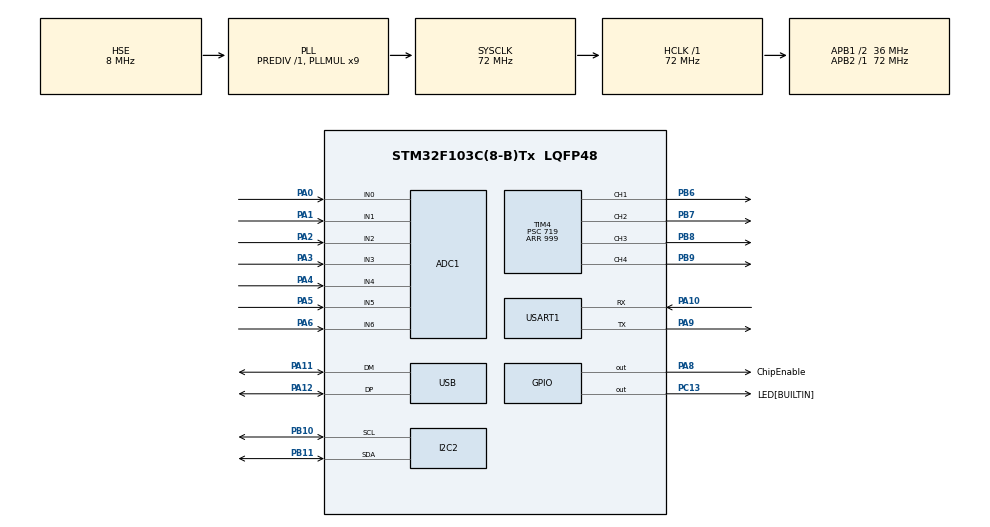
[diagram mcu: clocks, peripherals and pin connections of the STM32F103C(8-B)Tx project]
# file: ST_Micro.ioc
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ADC1.Channel-0\#ChannelRegularConversion=ADC_CHANNEL_0
ADC1.Channel-1\#ChannelRegularConversion=ADC_CHANNEL_1
ADC1.Channel-2\#ChannelRegularConversion=ADC_CHANNEL_2
ADC1.Channel-3\#ChannelRegularConversion=ADC_CHANNEL_3
ADC1.Channel-4\#ChannelRegularConversion=ADC_CHANNEL_4
ADC1.Channel-5\#ChannelRegularConversion=ADC_CHANNEL_5
ADC1.Channel-6\#ChannelRegularConversion=ADC_CHANNEL_6
ADC1.ContinuousConvMode=DISABLE
ADC1.ExternalTrigConv=ADC_EXTERNALTRIGCONV_T3_TRGO
ADC1.NbrOfConversion=7
ADC1.NbrOfConversionFlag=1
ADC1.Rank-0\#ChannelRegularConversion=1
ADC1.Rank-1\#ChannelRegularConversion=2
ADC1.Rank-2\#ChannelRegularConversion=3
ADC1.Rank-3\#ChannelRegularConversion=4
ADC1.Rank-4\#ChannelRegularConversion=5
ADC1.Rank-5\#ChannelRegularConversion=6
ADC1.Rank-6\#ChannelRegularConversion=7
ADC1.SamplingTime-0\#ChannelRegularConversion=ADC_SAMPLETIME_1CYCLE_5
ADC1.SamplingTime-1\#ChannelRegularConversion=ADC_SAMPLETIME_1CYCLE_5
ADC1.SamplingTime-2\#ChannelRegularConversion=ADC_SAMPLETIME_1CYCLE_5
ADC1.SamplingTime-3\#ChannelRegularConversion=ADC_SAMPLETIME_1CYCLE_5
ADC1.SamplingTime-4\#ChannelRegularConversion=ADC_SAMPLETIME_1CYCLE_5
ADC1.SamplingTime-5\#ChannelRegularConversion=ADC_SAMPLETIME_1CYCLE_5
ADC1.SamplingTime-6\#ChannelRegularConversion=ADC_SAMPLETIME_1CYCLE_5
ADC1.master=1
Dma.ADC1.0.Direction=DMA_PERIPH_TO_MEMORY
Dma.ADC1.0.Instance=DMA1_Channel1
Dma.ADC1.0.MemDataAlignment=DMA_MDATAALIGN_WORD
Dma.ADC1.0.MemInc=DMA_MINC_ENABLE
Dma.ADC1.0.Mode=DMA_CIRCULAR
Dma.ADC1.0.PeriphDataAlignment=DMA_PDATAALIGN_WORD
Dma.ADC1.0.PeriphInc=DMA_PINC_DISABLE
Dma.ADC1.0.Priority=DMA_PRIORITY_MEDIUM
Dma.Request0=ADC1
I2C2.I2C_Mode=I2C_Fast
Mcu.Family=STM32F1
Mcu.Name=STM32F103C(8-B)Tx
Mcu.Package=LQFP48
NVIC.DMA1_Channel1_IRQn=true\:0\:0\:false\:false\:true\:false\:true\:true
NVIC.PriorityGroup=NVIC_PRIORITYGROUP_4
NVIC.USART1_IRQn=true\:0\:0\:false\:false\:true\:true\:true\:true
NVIC.USB_LP_CAN1_RX0_IRQn=true\:0\:0\:false\:false\:true\:true\:true\:true
PA0-WKUP.Signal=ADCx_IN0
PA1.Signal=ADCx_IN1
PA10.Mode=Asynchronous
PA10.Signal=USART1_RX
PA11.Mode=Device
PA11.Signal=USB_DM
PA12.Mode=Device
PA12.Signal=USB_DP
PA13.Mode=Serial_Wire
PA13.Signal=SYS_JTMS-SWDIO
PA14.Mode=Serial_Wire
PA14.Signal=SYS_JTCK-SWCLK
PA2.Signal=ADCx_IN2
PA3.Signal=ADCx_IN3
PA4.Signal=ADCx_IN4
PA5.Signal=ADCx_IN5
PA6.Signal=ADCx_IN6
PA8.GPIO_Label=ChipEnable
PA8.Signal=GPIO_Output
PA9.Mode=Asynchronous
PA9.Signal=USART1_TX
PB10.Mode=I2C
PB10.Signal=I2C2_SCL
PB11.Mode=I2C
PB11.Signal=I2C2_SDA
PB6.Signal=S_TIM4_CH1
PB7.Signal=S_TIM4_CH2
PB8.Signal=S_TIM4_CH3
PB9.Signal=S_TIM4_CH4
PC13-TAMPER-RTC.GPIO_Label=LED[BUILTIN]
PC13-TAMPER-RTC.Signal=GPIO_Output
PC14-OSC32_IN.Mode=LSE-External-Oscillator
PC14-OSC32_IN.Signal=RCC_OSC32_IN
PC15-OSC32_OUT.Mode=LSE-External-Oscillator
PC15-OSC32_OUT.Signal=RCC_OSC32_OUT
PD0-OSC_IN.Mode=HSE-External-Oscillator
PD0-OSC_IN.Signal=RCC_OSC_IN
PD1-OSC_OUT.Mode=HSE-External-Oscillator
PD1-OSC_OUT.Signal=RCC_OSC_OUT
ProjectManager.HeapSize=0x200
ProjectManager.StackSize=0x400
ProjectManager.TargetToolchain=STM32CubeIDE
RCC.ADCPresc=RCC_ADCPCLK2_DIV6
RCC.AHBFreq_Value=72000000
RCC.APB1CLKDivider=RCC_HCLK_DIV2
RCC.APB1Freq_Value=36000000
RCC.APB1TimFreq_Value=72000000
RCC.APB2Freq_Value=72000000
RCC.APB2TimFreq_Value=72000000
RCC.HCLKFreq_Value=72000000
RCC.PLLMUL=RCC_PLL_MUL9
RCC.PLLSourceVirtual=RCC_PLLSOURCE_HSE
RCC.SYSCLKFreq_VALUE=72000000
RCC.SYSCLKSource=RCC_SYSCLKSOURCE_PLLCLK
RCC.USBFreq_Value=48000000
RCC.USBPrescaler=RCC_USBCLKSOURCE_PLL_DIV1_5
SH.ADCx_IN0.0=ADC1_IN0,IN0
SH.ADCx_IN1.0=ADC1_IN1,IN1
SH.ADCx_IN2.0=ADC1_IN2,IN2
SH.ADCx_IN3.0=ADC1_IN3,IN3
SH.ADCx_IN4.0=ADC1_IN4,IN4
SH.ADCx_IN5.0=ADC1_IN5,IN5
SH.ADCx_IN6.0=ADC1_IN6,IN6
SH.S_TIM4_CH1.0=TIM4_CH1,PWM Generation1 CH1
SH.S_TIM4_CH2.0=TIM4_CH2,PWM Generation2 CH2
SH.S_TIM4_CH3.0=TIM4_CH3,PWM Generation3 CH3
SH.S_TIM4_CH4.0=TIM4_CH4,PWM Generation4 CH4
TIM2.AutoReloadPreload=TIM_AUTORELOAD_PRELOAD_ENABLE
TIM2.Period=60000
TIM2.Prescaler=35999
TIM3.Period=249
TIM3.Prescaler=71
TIM3.TIM_MasterOutputTrigger=TIM_TRGO_UPDATE
TIM4.Channel-PWM\ Generation1\ CH1=TIM_CHANNEL_1
TIM4.Channel-PWM\ Generation2\ CH2=TIM_CHANNEL_2
TIM4.Channel-PWM\ Generation3\ CH3=TIM_CHANNEL_3
TIM4.Channel-PWM\ Generation4\ CH4=TIM_CHANNEL_4
TIM4.Period=999
TIM4.Prescaler=719
USART1.VirtualMode=VM_ASYNC
USB_DEVICE.CLASS_NAME_FS=CDC
USB_DEVICE.VirtualMode=Cdc
USB_DEVICE.VirtualModeFS=Cdc_FS
VP_TIM2_VS_ClockSourceINT.Mode=Internal
VP_TIM3_VS_ClockSourceINT.Mode=Internal
VP_TIM4_VS_ClockSourceINT.Mode=Internal
VP_USB_DEVICE_VS_USB_DEVICE_CDC_FS.Mode=CDC_FS
board=custom

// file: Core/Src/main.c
/* USER CODE BEGIN Header */
/**
  ******************************************************************************
  * @file           : main.c
  * @brief          : Main program body
  ******************************************************************************
  * @attention
  *
  * Copyright (c) 2025 STMicroelectronics.
  * All rights reserved.
  *
  * This software is licensed under terms that can be found in the LICENSE file
  * in the root directory of this software component.
  * If no LICENSE file comes with this software, it is provided AS-IS.
  *
  ******************************************************************************
  */
/* USER CODE END Header */
#include "main.h"
#include "usb_device.h"

/* USER CODE BEGIN Includes */
#include <string.h>
#include <stddef.h>
#include "stdint.h"
#include "usbd_cdc_if.h"
#include "comunicaciones.h"
#include "ESP01.h"
#include "stm32f1xx_hal.h"
#include "ssd1306.h"
#include "fonts.h"
/* USER CODE END Includes */

/* USER CODE BEGIN PTD */

typedef enum{
	ALIVE=0xF0,      // Identificador para mensaje de "vivo"
	DATA=0xF1,       // Identificador para transmisión de datos
	DEBUGGER=0xE3,   // Identificador para mensajes de depuración
	AT_TRANSMIT=0xA0,// Identificador para transmisión AT
	AT_CONFIG=0xA1,  // Identificador para configuración AT
	MPU_READ = 0xAC, // Identificador para lectura del sensor MPU
	IR_READ = 0xAB,  // Identificador para lectura de sensores IR
	MOTOR = 0XA5,    // Identificador para control de motores
	PID_CONFIG = 0xA6,// Identificador para configuración PID
	ADC_VALUES = 0XA7,// Identificador para graficar valores ADC
	OTHERS           // Identificador para otros comandos
}_eID;

// Definición de una unión para almacenar banderas de estado
static union{
	struct{
		uint8_t tranparentDebug: 1; // Bandera para modo de depuración transparente
		uint8_t at_transmit: 1;     // Bandera para transmisión AT
		uint8_t comillas: 1;        // Bandera para manejo de comillas en configuración AT
		uint8_t mpu_read: 1;        // Bandera para indicar lectura del sensor MPU
		uint8_t mpu_read_ok: 1;     // Bandera para indicar que la lectura del MPU fue exitosa
		uint8_t ir_read: 1;         // Bandera para indicar lectura de sensores IR
		uint8_t adc_dma_start: 1;   // Bandera para indicar inicio de DMA en ADC
		uint8_t motor_prueba: 1;    // Bandera para prueba de motores
	}bit;
	uint8_t byte;  // Variable de 8 bits para acceder a todas las banderas como un solo byte
}flags;

typedef struct{
	uint8_t bufferRx[256];
	uint8_t bufferTx[256];
	uint8_t bufferPx[256];
	uint8_t Rxir;
	uint8_t Rxiw;
	uint8_t Txir;
	uint8_t Txiw;
	uint8_t Pxir;
	uint8_t Pxiw;
}bufferST;

// Variables para configuración y almacenamiento de datos

SSD1306_COLOR_t color; // Color de la pantalla OLED
//_sESP01_CONFIG myESP01_Config; // Configuración del módulo ESP01
_eESP01STATUS currentESP01states;
bufferST bufferESP01;

/* USER CODE END PTD */

/* USER CODE BEGIN PD */
#define MPU6050_ADDRESS 0xD0 // Dirección I2C del sensor MPU6050
/* USER CODE END PD */

ADC_HandleTypeDef hadc1;
DMA_HandleTypeDef hdma_adc1;

I2C_HandleTypeDef hi2c2;

TIM_HandleTypeDef htim2;
TIM_HandleTypeDef htim3;
TIM_HandleTypeDef htim4;

UART_HandleTypeDef huart1;

/* USER CODE BEGIN PV */

// Variables de uso general
uint8_t tempRxUART[2];
//char dataRXESP01; // Variable para almacenar datos recibidos por UART
uint32_t elapsedHeartBeat = 0, elapsedESP01Receive = 0, elapsedMPU = 0, elapsedMPU_tx = 0, elapseIR = 0, elapsedADC_draw = 0;
uint32_t elapsedESP01TimeOut = 0;
int16_t pwmIzq = 0, pwmDer = 0, pwmIzqInv = 0, pwmDerInv = 0, pwmBase = 999; // Variables de control de PWM
int error = 0, lastError = 0;
int cumError = 0, rateError = 0, correccionDer = 0, correccionIzq = 0; // Variables para control PID
uint8_t KpIzq = 0, KpDer = 0,  Vel = 100; // Coeficientes PID
uint16_t KdIzq = 0, KdDer = 0;
uint8_t raceStart = 0, adcDraw = 0; // Banderas de control

// Buffers para almacenamiento y transmisión de datos
char bufPayloadRx[32]; // Buffer para recepción de datos USB
char bufPayloadTx[32]; // Buffer para transmisión de datos USB
char payloadBck[256];  // Buffer de respaldo para datos USB
char bufDebug[32];      // Buffer para mensajes de depuración
char ipBuf[16];           // Almacenamiento de la dirección IP del ESP01
char *ip;
uint8_t TxLen = 0;

// Variables para lectura del sensor MPU6050
uint8_t MPU_rx[4], accelCount = 0;
int16_t accelXProm = 0, accelYProm = 0, gyroZProm = 0, gyroYProm = 0, gyroZAux[20], gyroYAux[20], accelXAux[20], accelYAux[20];

// Variables para manejo de ADC con DMA
uint32_t adc_dma_value[7], dma_result[7][20], ir_prom_value[7]; // Almacenamiento de valores ADC
uint8_t adc_dma_count = 0;
int8_t line_pos;

// Variables para la detección de la linea
uint8_t max_value_ir = 0;  // Índice del sensor IR con el valor máximo
uint8_t last_ir = 0;
uint32_t max_value = 0;    // Valor máximo encontrado en ir_prom_value

/* USER CODE END PV */

void SystemClock_Config(void);
static void MX_GPIO_Init(void);
static void MX_DMA_Init(void);
static void MX_ADC1_Init(void);
static void MX_I2C2_Init(void);
static void MX_TIM2_Init(void);
static void MX_TIM4_Init(void);
static void MX_USART1_UART_Init(void);
static void MX_TIM3_Init(void);
/* USER CODE BEGIN PFP */
//void mypinSet();
uint8_t myI2CInit();
void myI2CWriteMulti(uint8_t address, uint8_t reg, uint8_t *data, uint16_t count);
void myI2CWrite(uint8_t address, uint8_t reg, uint8_t data);
void decode(uint8_t *payloadBuf, uint8_t lenPx);
void onUSBRx(char *myBuf, int length);
//uint8_t onWiFiTx(char Txdata);
//void onWiFiRx(char *Rxdata, int RxLength);
//void TxCOM(uint8_t *TxBuf, int length);
void display_debug(char txt[],uint8_t X,uint8_t Y);
void MPU6050_Read_Data(void);
uint8_t MPU6050_Init(void);
void IR_PROMEDIO();
void MPU_PROMEDIO();
int8_t Line_detection();
void Pwm_Step();

void ESP01_CH_PD_Set(uint8_t value);
void ESP01_UART_Receive(uint8_t value);
int ESP01_UART_Send(uint8_t value);
void ESP01_ChangeState(_eESP01STATUS statusESP01);

/* USER CODE END PFP */

/* USER CODE BEGIN 0 */

/**
 * @brief Muestra un texto en un display OLED SSD1306 en una posición específica.
 *
 * Esta función borra la pantalla OLED, posiciona el cursor en las coordenadas (x, y)
 * indicadas y muestra el texto deseado utilizando la fuente `Font_7x10`. Finalmente,
 * actualiza la pantalla para reflejar los cambios.
 *
 * @param text Puntero a la cadena de texto que se desea mostrar.
 * @param x Coordenada horizontal (en píxeles) donde se colocará el texto.
 * @param y Coordenada vertical (en píxeles) donde se colocará el texto.
 */
void display_debug(char txt[],uint8_t x,uint8_t y) {
    //SSD1306_Clear(); // Borra la pantalla OLED
    SSD1306_GotoXY(x, y); // Posiciona el cursor en las coordenadas especificadas
    SSD1306_Puts(txt, &Font_7x10, 1); // Muestra el texto en la pantalla
    SSD1306_UpdateScreen(); // Actualiza la pantalla con el nuevo contenido
}

/**
 * @brief Callback que se ejecuta cuando finaliza una conversión ADC mediante DMA.
 *
 * Esta función se activa automáticamente al completarse la conversión ADC. Se encarga de
 * almacenar los valores convertidos en un buffer, manteniendo un historial de las últimas 8 muestras.
 *
 * @param hadc Puntero a la estructura de manejo del ADC.
 */
void HAL_ADC_ConvCpltCallback(ADC_HandleTypeDef* hadc)
{

	dma_result[0][adc_dma_count] = adc_dma_value[0];
	dma_result[1][adc_dma_count] = adc_dma_value[1];
	dma_result[2][adc_dma_count] = adc_dma_value[2];
	dma_result[3][adc_dma_count] = adc_dma_value[3];
	dma_result[4][adc_dma_count] = adc_dma_value[4];
	dma_result[5][adc_dma_count] = adc_dma_value[5];
	dma_result[6][adc_dma_count++] = adc_dma_value[6];

	if(adc_dma_count > 19)
		adc_dma_count = 0;
}

/**
 * @brief Callback de interrupción de recepción UART.
 *
 * Esta función se ejecuta automáticamente cuando se recibe un byte a través de UART.
 * Si la recepción proviene de USART1, se almacena el dato en `dataRXESP01`, se vuelve
 * a habilitar la recepción para recibir el siguiente byte y se procesa el dato recibido.
 * Además, si está activado el modo de depuración transparente, el dato se envía por USB.
 *
 * @param huart Puntero a la estructura de manejo de UART.
 */
void HAL_UART_RxCpltCallback(UART_HandleTypeDef* huart){
    if(huart->Instance == USART1){ // Verifica que la interrupción proviene de USART1
    	ESP01_WriteRX(tempRxUART[0]);
    	HAL_UART_Receive_IT(&huart1, tempRxUART, 1);
    }
}

/**
 * @brief Cambia el estado del pin de salida del GPIO.
 *
 * Esta función modifica el estado del pin de salida configurado en `GPIOx_ODR`.
 * Se utiliza para alternar entre los estados alto y bajo
 *
 * @param value Valor alto o bajo que deseamos asignar a nuestro pin de salida
 */

void ESP01_CH_PD_Set(uint8_t value){
	HAL_GPIO_WritePin(ChipEnable_GPIO_Port, ChipEnable_Pin, value);
}

/**
 * @brief Maneja la recepción de datos desde el módulo WiFi ESP01.
 *
 * Esta función copia los datos recibidos en un buffer temporal
 *
 * @param value byte de gatagrama recibido a través de la ESP01
 */

void ESP01_UART_Receive(uint8_t value){
	bufferESP01.bufferRx[bufferESP01.Rxiw++] = value;
	elapsedESP01Receive = __HAL_TIM_GetCounter(&htim2);
}

/**
 * @brief Transmite un byte de datos a través de UART si el buffer de transmisión está vacío.
 *
 * La función verifica si el buffer de transmisión de USART1 está vacío. Si lo está,
 * se envía el byte `Txdata` a través del registro de datos `USART1->DR`. Además, si el
 * modo de depuración transparente está activado, se transmite el mismo dato por USB.
 *
 * @param value Byte de datos a transmitir.
 * @return uint8_t Devuelve 1 si el dato se transmitió exitosamente, 0 en caso contrario.
 */
int ESP01_UART_Send(uint8_t value){
	HAL_UART_Transmit(&huart1, &value, 1, 10);
	return  1;
}

void ESP01_ChangeState(_eESP01STATUS statusESP01){
	switch (statusESP01) {
		case ESP01_READY:
			SSD1306_Clear();
			sprintf(bufPayloadTx,"READY");
			display_debug(bufPayloadTx, 1, 30);
			break;
		case ESP01_WIFI_CONNECTED:
			SSD1306_Clear();
			sprintf(bufPayloadTx,"WIFI_CONNECTED");
			display_debug(bufPayloadTx, 1, 30);
			break;
		case ESP01_WIFI_NEW_IP:
			SSD1306_Clear();
			sprintf(bufPayloadTx,"NEW_IP");
			display_debug(bufPayloadTx, 1, 30);
			break;
		case ESP01_UDPTCP_CONNECTED:
			SSD1306_Clear();
			sprintf(bufPayloadTx,"UDP_CONNECTED");
			display_debug(bufPayloadTx, 1, 30);
			currentESP01states = ESP01_GET_IP;
			break;
		case ESP01_WIFI_NOT_SETED:
			SSD1306_Clear();
			sprintf(bufPayloadTx,"WIFI_NOT_SET");
			display_debug(bufPayloadTx, 1, 30);
			break;
		case ESP01_WIFI_CONNECTING_WIFI:
			SSD1306_Clear();
			sprintf(bufPayloadTx,"WIFI_CONNECTING");
			display_debug(bufPayloadTx, 1, 30);
			break;
		case ESP01_UDPTCP_DISCONNECTED:
			sprintf(bufPayloadTx,"UDP_DISCONNECTED");
			display_debug(bufPayloadTx, 1, 30);
			break;
		case ESP01_UDPTCP_CONNECTING:
			SSD1306_Clear();
			sprintf(bufPayloadTx,"UDP_CONNECTING");
			display_debug(bufPayloadTx, 1, 30);
			break;
		case ESP01_SEND_BUSY:
			SSD1306_Clear();
			sprintf(bufPayloadTx,"SEND_BUSY");
			display_debug(bufPayloadTx, 1, 30);
			break;
		case ESP01_SEND_READY:

			break;
		case ESP01_SEND_ERROR:
			SSD1306_Clear();
			sprintf(bufPayloadTx,"SEND_ERROR");
			display_debug(bufPayloadTx, 1, 30);
			break;
		default:
			break;
	}
}

//--------------------------------------------------------------

/**
 * @brief Maneja la recepción de datos desde el puerto USB.
 *
 * Esta función recibe datos desde la conexión USB y los transfiere a
 * `Comunicaciones_Recieve` para su procesamiento.
 *
 * @param myBuf Puntero al buffer que contiene los datos recibidos.
 * @param length Longitud de los datos recibidos.
 */
void onUSBRx(char *myBuf, int length) {
    //Comunicaciones_Recieve((uint8_t *)myBuf, length); // Envía los datos recibidos para su procesamiento
}

/**
 * @brief Decodifica el comando recibido y ejecuta la acción correspondiente.
 *
 * Esta función analiza el primer byte del buffer recibido y ejecuta
 * acciones específicas dependiendo del tipo de comando.
 *
 * @param payBuf Puntero al buffer de datos recibido.
 * @param payLength Longitud del buffer de datos recibido.
 */
void decode(uint8_t *payloadBuf, uint8_t lenPx) {

    // Analiza el primer byte del buffer para determinar la acción a ejecutar
    switch(payloadBuf[0]) {
        case ALIVE:
            // Responde con un mensaje de confirmación
            sprintf(bufDebug, "ALIVE OK");
            display_debug(bufDebug, 1, 15);
            bufferESP01.bufferPx[bufferESP01.Pxiw++] = 0xF0;
            flags.bit.at_transmit = 1;
            break;

        case MPU_READ:
            // Activa la bandera para leer datos del sensor MPU
            flags.bit.mpu_read = !flags.bit.mpu_read;
            flags.bit.mpu_read_ok = !flags.bit.mpu_read_ok;
            accelCount = 0;
            break;
        case IR_READ:
            // Activa o desactiva la lectura del sensor infrarrojo e indica el inicio de la carrera
            sprintf(bufDebug, "RACE START");
            SSD1306_Clear();
            display_debug(bufDebug, 1, 15);
            raceStart = !raceStart;
            if(!raceStart){
    			TIM4->CCR1 = 0;
    			TIM4->CCR2 = 0;
    			TIM4->CCR3 = 0;
    			TIM4->CCR4 = 0;
            }
            break;

        case DATA:
            // Envía los datos de los sensores ADC almacenados en `adc_dma_value`
            sprintf(bufPayloadTx, "0 = %ld\n1 = %ld", adc_dma_value[0], adc_dma_value[1]);
            break;

        case DEBUGGER:
            // Activa o desactiva el modo de depuración transparente
            flags.bit.tranparentDebug = !flags.bit.tranparentDebug;
            sprintf(bufPayloadTx, "Transparent: %i", flags.bit.tranparentDebug);
            break;
		case MOTOR:
			flags.bit.motor_prueba = !flags.bit.motor_prueba;
			sprintf(bufDebug, "STOP");
			SSD1306_Clear();
			display_debug(bufDebug, 1, 15);
			raceStart = 0;
			flags.bit.ir_read = 0;
			TIM4->CCR1 = 0;
			TIM4->CCR2 = 0;
			TIM4->CCR3 = 0;
			TIM4->CCR4 = 0;
			break;
		case PID_CONFIG:
			KpIzq = payloadBuf[1];
			KdIzq = (uint16_t)((payloadBuf[2] << 8) | payloadBuf[3]);
			KpDer = payloadBuf[4];
			KdDer = (uint16_t)((payloadBuf[5] << 8) | payloadBuf[6]);
			Vel = payloadBuf[7];
			pwmBase = (999 * Vel) / 100;

			sprintf(bufDebug, "PID Updated");
			SSD1306_Clear();
			display_debug(bufDebug, 1, 15);
			break;
		case ADC_VALUES:
			// Activa o desactiva la bandera para leer datos del sensor MPU
			adcDraw = !adcDraw;
			break;
	default:
		sprintf(bufPayloadTx,"ERROR");
		display_debug(bufPayloadTx, 1, 30);
		break;
	}

    // Verifica si es necesario transmitir una respuesta y envía los datos si es necesario
    if (flags.bit.at_transmit) {
        flags.bit.at_transmit = 0;
        //TxPay = strlen(bufPayloadTx);
        Comunicaciones_encode(bufferESP01.bufferTx, &bufferESP01.Txiw, bufferESP01.bufferPx, bufferESP01.Pxiw, &bufferESP01.Pxir);
        if(bufferESP01.Txiw < bufferESP01.Txir){
        	TxLen = (256 - bufferESP01.Txir) + bufferESP01.Txiw;
        }else{
        	TxLen = bufferESP01.Txiw - bufferESP01.Txir;
        }
        ESP01_Send(bufferESP01.bufferTx, bufferESP01.Txir, TxLen, 256);
        bufferESP01.Txir = bufferESP01.Txiw;
    }

}

/**
 * @brief Inicializa la comunicación I2C verificando la disponibilidad del dispositivo.
 *
 * Esta función comprueba si el dispositivo en la dirección `SSD1306_I2C_ADDR`
 * está listo para la comunicación mediante el bus I2C.
 *
 * @return 1 si el dispositivo está listo, 0 en caso contrario.
 */
uint8_t myI2CInit(){
    // Comprueba si el dispositivo responde en la dirección especificada
    if(HAL_I2C_IsDeviceReady(&hi2c2, SSD1306_I2C_ADDR, 1, 20000) != HAL_OK){
        return 0; // Dispositivo no disponible
    }else{
        return 1; // Dispositivo listo
    }
}

/**
 * @brief Escribe múltiples bytes en un dispositivo I2C.
 *
 * Envía un conjunto de datos a un dispositivo en la dirección `address`,
 * comenzando desde el registro `reg`.
 *
 * @param address Dirección del dispositivo I2C.
 * @param reg Registro de inicio donde se almacenarán los datos.
 * @param data Puntero al buffer de datos a enviar.
 * @param count Cantidad de bytes a enviar.
 */
void myI2CWriteMulti(uint8_t address, uint8_t reg, uint8_t *data, uint16_t count){
    uint8_t dt[256]; // Buffer temporal para la transmisión
    dt[0] = reg; // Primer byte es la dirección del registro

    uint8_t i;
    for(i = 0; i < count; i++) // Copia los datos al buffer temporal
        dt[i+1] = data[i];

    // Enviar los datos a través de I2C
    HAL_I2C_Master_Transmit(&hi2c2, address, dt, count+1, 10);
}

/**
 * @brief Escribe un solo byte en un dispositivo I2C.
 *
 * Envía un byte de datos a un dispositivo en la dirección `address`,
 * en el registro `reg`.
 *
 * @param address Dirección del dispositivo I2C.
 * @param reg Registro donde se escribirá el dato.
 * @param data Dato a escribir.
 */
void myI2CWrite(uint8_t address, uint8_t reg, uint8_t data){
    uint8_t dt[2]; // Buffer para el registro y el dato
    dt[0] = reg;  // Dirección del registro
    dt[1] = data;  // Dato a escribir

    // Enviar los datos a través de I2C
    HAL_I2C_Master_Transmit(&hi2c2, address, dt, 2, 10);
}

/**
  * @brief Inicializa el sensor MPU6050 configurando los registros necesarios
  *        para la comunicación y funcionamiento del dispositivo.
  *
  * Esta función configura el registro de encendido y el registro de configuración
  * de la tasa de muestreo del MPU6050 para permitir su funcionamiento correcto.
  *
  * @param None
  * @return None
  */
uint8_t MPU6050_Init(void){
	uint8_t check, data;

	HAL_I2C_Mem_Read(&hi2c2, (uint16_t)MPU6050_ADDRESS, 0x75, 1, &check, 1, 1000);

	if(check != 0x68)
		return 0;

	data = 0x00;
	HAL_I2C_Mem_Write(&hi2c2, (uint16_t)MPU6050_ADDRESS, 0x6B, 1, &data, 1, 1000);

	data = 0x09;
	HAL_I2C_Mem_Write(&hi2c2, (uint16_t)MPU6050_ADDRESS, 0x19, 1, &data, 1, 1000);

	data = 0x02;
	HAL_I2C_Mem_Write(&hi2c2, (uint16_t)MPU6050_ADDRESS, 0x1A, 1, &data, 1, 1000);

	data = 0x00;
	HAL_I2C_Mem_Write(&hi2c2, (uint16_t)MPU6050_ADDRESS, 0x1C, 1, &data, 1, 1000);

	return 1;
}

/**
  * @brief Lee los datos del sensor MPU6050.
  *
  * Esta función lee 14 bytes de datos desde el MPU6050, comenzando en el registro 0x3B
  * que contiene los datos de aceleración y giroscopio. La función utiliza la transmisión
  * I2C para obtener los datos y devuelve 1 si la operación es exitosa, 0 si falla.
  *
  * @param None
  * @return uint8_t: 1 si la lectura fue exitosa, 0 si hubo un error.
  */
void MPU6050_Read_Data(void){
	HAL_I2C_Mem_Read(&hi2c2, (uint16_t)MPU6050_ADDRESS, 0x3B, 1, MPU_rx, 4, 1000);

	accelXAux[accelCount] = (int16_t)((MPU_rx[0] << 8) | MPU_rx[1]);
	accelYAux[accelCount] = (int16_t)((MPU_rx[2] << 8) | MPU_rx[3]);

	HAL_I2C_Mem_Read(&hi2c2, (uint16_t)MPU6050_ADDRESS, 0x47, 1, MPU_rx, 2, 1000);

	gyroZAux[accelCount] = (int16_t)((MPU_rx[0] << 8) | MPU_rx[1]);

	if(accelCount > 19){
	  flags.bit.mpu_read_ok = 1;
	  accelCount = 0;
	}
}

/**
  * @brief Calcula el promedio de los valores IR almacenados en la matriz dma_result.
  *
  * Esta función recorre los 7 elementos de ir_prom_value y, para cada uno,
  * suma los valores de 8 lecturas almacenadas en dma_result. Luego,
  * divide la suma entre 8 para obtener el promedio.
  *
  * @param None
  * @return None
  */
void IR_PROMEDIO(){
	for (uint8_t index_ir = 0; index_ir < 7; index_ir++) {
		ir_prom_value[index_ir] = 0;  // Inicializa el acumulador de promedio en 0

		for (uint8_t index_read = 0; index_read < 20; index_read++) {
			ir_prom_value[index_ir] += dma_result[index_ir][index_read];  // Suma los valores de dma_result
		}

		ir_prom_value[index_ir] = ir_prom_value[index_ir] / 20;  // Calcula el promedio dividiendo por 8
	}
}

/**
  * @brief Detecta la posición de la línea en función de los valores IR promediados.
  *
  * Esta función analiza los valores de ir_prom_value para determinar la posición de la línea
  * en un rango de sensores IR. Identifica el sensor con el valor máximo, ajusta su posición
  * relativa y devuelve un resultado escalado.
  *
  * @param None
  * @return int8_t: Valor procesado que representa la posición de la línea detectada.
  */
int8_t Line_detection(){
	int8_t x_result;           // Resultado final de la detección de línea

	max_value = ir_prom_value[0];  // Se inicializa con el primer valor del array

	/** Recorre los sensores IR para encontrar el de mayor valor */
	for (uint8_t index_ir = 1; index_ir < 7; index_ir++) {
		if(max_value < ir_prom_value[index_ir]){
			max_value = ir_prom_value[index_ir];  // Actualiza el valor máximo
			max_value_ir = index_ir;  // Guarda el índice del sensor con mayor valor
		}
	}

	if(max_value > 500)
		last_ir = max_value_ir;

	x_result = max_value_ir * 3;  // Asigna una posición base en función del índice

	/** Ajusta la posición si el sensor máximo no es el primero (0) ni el último (6) */
	if((max_value_ir != 0) || (max_value_ir != 6)){

		/** Verifica si alguno de los sensores adyacentes tiene un valor significativo */
		if( (ir_prom_value[max_value_ir - 1] > (max_value / 2)) || (ir_prom_value[max_value_ir + 1] > (max_value / 2)) ) {

			/** Ajusta la posición según el sensor adyacente con mayor valor */
			if(ir_prom_value[max_value_ir - 1] >= ir_prom_value[max_value_ir + 1]){
				x_result--;  // Se ajusta la posición hacia la izquierda
			}else{
				x_result++;  // Se ajusta la posición hacia la derecha
			}

		}

	}else{  // Caso donde el sensor máximo es el primero (0) o el último (6)

		/** Ajusta la posición si el sensor 1 tiene un valor significativo */
		if( (max_value_ir == 0) && (ir_prom_value[1] > (max_value / 2)) ){
			x_result++;
		}

		/** Ajusta la posición si el sensor 5 tiene un valor significativo */
		if( (max_value_ir == 6) && (ir_prom_value[5] > (max_value / 2)) ){
			x_result--;
		}

	}

	x_result = x_result * 4;  // Escala el resultado
	x_result -= 36;  // Ajusta el valor final

	return x_result;  // Devuelve la posición detectada de la línea
}

void MPU_PROMEDIO(){
	accelXProm = 0;
	accelYProm = 0;
	gyroZProm = 0;

	for(uint8_t counter = 0; counter < 20; counter++) {
		accelXProm += accelXAux[counter];
		accelYProm += accelYAux[counter];
		gyroZProm += gyroZAux[counter];
	}

	gyroZProm = gyroZProm / 20;
	accelXProm = accelXProm / 20;
	accelYProm = accelYProm / 20;
}

/* USER CODE END 0 */

int main(void)
{

  /* USER CODE BEGIN 1 */

	_sESP01Handle handleESP01;
	handleESP01.DoCHPD = ESP01_CH_PD_Set;
	handleESP01.WriteUSARTByte = ESP01_UART_Send;
	handleESP01.WriteByteToBufRX = ESP01_UART_Receive;

	flags.bit.mpu_read = 0;
	flags.bit.ir_read = 0;
	flags.bit.adc_dma_start = 0;
	flags.bit.motor_prueba = 0;

	bufferESP01.Txiw = 0;
	bufferESP01.Txir = 0;
	bufferESP01.Rxiw = 0;
	bufferESP01.Rxir = 0;
	bufferESP01.Pxiw = 0;
	bufferESP01.Pxir = 0;

  /* USER CODE END 1 */

  /* MCU Configuration--------------------------------------------------------*/

  /* Reset of all peripherals, Initializes the Flash interface and the Systick. */
  HAL_Init();

  /* USER CODE BEGIN Init */
  ESP01_Init(&handleESP01);
  /* USER CODE END Init */

  /* Configure the system clock */
  SystemClock_Config();

  /* Initialize all configured peripherals */
  MX_GPIO_Init();
  MX_DMA_Init();
  MX_ADC1_Init();
  MX_I2C2_Init();
  MX_TIM2_Init();
  MX_TIM4_Init();
  MX_USART1_UART_Init();
  MX_USB_DEVICE_Init();
  MX_TIM3_Init();
  /* USER CODE BEGIN 2 */

  Attach_I2CInit(myI2CInit);
  Attach_I2CWriteMulti(myI2CWriteMulti);
  Attach_I2CWrite(myI2CWrite);

  CDC_Attach_RxFun(onUSBRx);
  Comunicaciones_Decode(decode);

  SSD1306_Init();
  if(MPU6050_Init()){
	  display_debug("MPU_OK", 1, 30);
  }else{
	  display_debug("MPU_DISCONNECT", 1, 30);
  }

  HAL_TIM_Base_Start(&htim4);
  HAL_TIM_Base_Start(&htim2);
  HAL_TIM_Base_Start(&htim3);
  HAL_TIM_PWM_Start(&htim4, TIM_CHANNEL_1);
  HAL_TIM_PWM_Start(&htim4, TIM_CHANNEL_2);
  HAL_TIM_PWM_Start(&htim4, TIM_CHANNEL_3);
  HAL_TIM_PWM_Start(&htim4, TIM_CHANNEL_4);
  TIM4->CCR2 = 0;
  TIM4->CCR3 = 0;
  TIM4->CCR1 = 0;
  TIM4->CCR4 = 0;
  pwmDer = 0;
  pwmIzq = 0;
  HAL_UART_Receive_IT(&huart1,tempRxUART,1);
  HAL_GPIO_WritePin(ChipEnable_GPIO_Port, ChipEnable_Pin, 0);
  HAL_ADC_Start_DMA(&hadc1, adc_dma_value, 7);  // Inicia la conversión ADC con DMA

  ESP01_AttachChangeState(ESP01_ChangeState);
  ESP01_SetWIFI("LabPrototip", "labproto");
  ESP01_StartUDP("192.168.2.114", 30001, 30010);

  currentESP01states = ESP01_WIFI_DISCONNECTED;
  /* USER CODE END 2 */

  /* Infinite loop */
  while (1)
  {

    /* USER CODE BEGIN 3 */
	  if((__HAL_TIM_GetCounter(&htim2) - elapsedHeartBeat) >= 1000 ){
		  elapsedHeartBeat = __HAL_TIM_GetCounter(&htim2);
		  HAL_GPIO_TogglePin(LED_GPIO_Port, LED_Pin);
	  }

	  if((__HAL_TIM_GetCounter(&htim2) - elapsedESP01TimeOut) > 20){
		  elapsedESP01TimeOut = __HAL_TIM_GetCounter(&htim2);
		  ESP01_Timeout10ms();
	  }

	  if((__HAL_TIM_GetCounter(&htim2) - elapsedESP01Receive) > 100 && elapsedESP01Receive > 0){
		  elapsedESP01Receive = 0;
		  Comunicaciones_Recieve(bufferESP01.bufferRx, bufferESP01.Rxiw, &bufferESP01.Rxir);
	  }

	  switch (currentESP01states) {
		case ESP01_GET_IP:
			ip = ESP01_GetLocalIP();

			if (ip != NULL) {
				strncpy(ipBuf,ip,15);
				ipBuf[15] = '\0';
				currentESP01states = ESP01_READY;
				display_debug(ip, 1, 45);
			}
			break;
		case ESP01_READY:

			break;
		default:
			break;
	  }

	  /**
	   * Verifica si la carrera ha comenzado y si han transcurrido al menos 100 unidades de tiempo
	   * desde la última ejecución de la rutina de procesamiento de sensores IR.
	   */
	  if (raceStart && ((__HAL_TIM_GetCounter(&htim2) - elapseIR) >= 20)){

		  elapseIR = __HAL_TIM_GetCounter(&htim2);  // Actualiza el tiempo de referencia

		  IR_PROMEDIO();  // Calcula el promedio de las lecturas de los sensores IR

		  line_pos = Line_detection();  // Determina la posición de la línea detectada

		  error = line_pos;  // Asigna la posición detectada como error de control

		  if(max_value < 700){
			  if(last_ir > 3){
				  pwmDer = 200;
				  pwmDerInv = 0;
				  pwmIzqInv = 200;
				  pwmIzq = 0;
			  }else{
				  pwmDer = 0;
				  pwmDerInv = 200;
				  pwmIzqInv = 0;
				  pwmIzq = 200;
			  }
		  }else{
			  pwmDerInv = 0;
			  pwmIzqInv = 0;

			  cumError += error * 10;  // Acumula el error para el control integral
			  rateError = error - lastError;  // Calcula la derivada del error

			  /** Calcula la corrección del sistema usando el control PID */
			  correccionDer = KpDer * error + KdDer * rateError;
			  correccionIzq = KpIzq * error + KdIzq * rateError;

			  /** Restablece los valores de PWM a la base antes de aplicar la corrección */
			  pwmDer = pwmBase + correccionDer;
			  pwmIzq = pwmBase - correccionIzq;
			  pwmDerInv = 0;
			  pwmIzqInv = 0;

			  if(pwmDer > 999)
				  pwmDer = 999;

			  if(pwmDer < 0){
				  pwmDerInv = pwmDer * -1;
				  pwmDer = 0;
			  }

			  if(pwmIzq > 999)
				  pwmIzq = 999;

			  if(pwmIzq < 0){
				  pwmIzqInv = pwmIzq * -1;
				  pwmIzq = 0;
			  }

		  }

		  lastError = error;

		  TIM4->CCR1 = pwmDerInv;
		  TIM4->CCR2 = pwmDer;
		  TIM4->CCR3 = pwmIzq;
		  TIM4->CCR4 = pwmIzqInv;

	  }

	  /**
	   * Verifica si la bandera de lectura del MPU6050 está activada y si han transcurrido al menos 10 ms
	   * desde la última lectura del sensor.
	   */
	  if(flags.bit.mpu_read && ((__HAL_TIM_GetCounter(&htim2) - elapsedMPU) >= 20)){
		  elapsedMPU = __HAL_TIM_GetCounter(&htim2);  //Actualiza el tiempo de referencia

		  /** Intenta leer los datos del MPU6050 */
		  MPU6050_Read_Data();
	  }

	  /**
	   * Verifica si la lectura del MPU6050 fue exitosa y si han transcurrido al menos 200 ms
	   * desde la última transmisión de datos del MPU6050.
	   */
	  if(flags.bit.mpu_read_ok && ((__HAL_TIM_GetCounter(&htim2) - elapsedMPU_tx) > 400)){

		  elapsedMPU_tx = __HAL_TIM_GetCounter(&htim2);  // Actualiza el tiempo de referencia para la transmisión

		  MPU_PROMEDIO();

		  // Prepara el buffer de datos a transmitir
		  bufferESP01.bufferPx[bufferESP01.Pxiw++] = 0xAC;  // Código de inicio de trama
		  bufferESP01.bufferPx[bufferESP01.Pxiw++] = accelXProm >> 8;  // Ajusta y almacena el primer dato del MPU6050 (Parte alta aceleración X)
		  bufferESP01.bufferPx[bufferESP01.Pxiw++] = accelXProm;  // Ajusta y almacena el segundo dato del MPU6050 (Parte baja aceleración X)
		  bufferESP01.bufferPx[bufferESP01.Pxiw++] = accelYProm >> 8;  // Ajusta y almacena el tercer dato del MPU6050 (Parte alta aceleración Y)
		  bufferESP01.bufferPx[bufferESP01.Pxiw++] = accelYProm;  // Ajusta y almacena el cuarto dato del MPU6050 (Parte baja aceleración Y)
		  bufferESP01.bufferPx[bufferESP01.Pxiw++] = gyroZProm >> 8;  // Ajusta y almacena el quinto dato del MPU6050 (Parte alta giroscopio Z)
		  bufferESP01.bufferPx[bufferESP01.Pxiw++] = gyroZProm;  // Ajusta y almacena el sexto dato del MPU6050 (Parte baja giroscopio Z)

		  // Envía los datos almacenados en el buffer de transmisión
		  Comunicaciones_encode(bufferESP01.bufferTx, &bufferESP01.Txiw, bufferESP01.bufferPx, bufferESP01.Pxiw, &bufferESP01.Pxir);
		  if(bufferESP01.Txiw < bufferESP01.Txir){
			  TxLen = (256 - bufferESP01.Txir) + bufferESP01.Txiw;
		  }else{
			  TxLen = bufferESP01.Txiw - bufferESP01.Txir;
		  }
		  ESP01_Send(bufferESP01.bufferTx, bufferESP01.Txir, TxLen, 256);
		  bufferESP01.Txir = bufferESP01.Txiw;

	  }

	  /*
	   * Verifica si esta activada la bandera para dibujar el valor ADC y si han transcurrido al menos 500 unidades de tiempo
	   * desde la última vez que se transmitieron estos datos
	   */
	  if(adcDraw && ((__HAL_TIM_GetCounter(&htim2) - elapsedADC_draw) > 300)){
		  elapsedADC_draw = __HAL_TIM_GetCounter(&htim2);

		  if(!raceStart){
			  IR_PROMEDIO();
			  line_pos = Line_detection();
		  }

		  display_debug("ADC", 15, 45);

		  /** Prepara el buffer de datos a transmitir */
		  bufferESP01.bufferPx[bufferESP01.Pxiw++] = 0xA7;  // Código de inicio de trama
		  bufferESP01.bufferPx[bufferESP01.Pxiw++] = line_pos;
		  bufferESP01.bufferPx[bufferESP01.Pxiw++] = pwmIzq >> 8;
		  bufferESP01.bufferPx[bufferESP01.Pxiw++] = pwmIzq;
		  bufferESP01.bufferPx[bufferESP01.Pxiw++] = pwmDer >> 8;
		  bufferESP01.bufferPx[bufferESP01.Pxiw++] = pwmDer;
		  bufferESP01.bufferPx[bufferESP01.Pxiw++] = rateError >> 8;
		  bufferESP01.bufferPx[bufferESP01.Pxiw++] = rateError;

		  /** Envía los datos almacenados en el buffer de transmisión */
		  Comunicaciones_encode(bufferESP01.bufferTx, &bufferESP01.Txiw, bufferESP01.bufferPx, bufferESP01.Pxiw, &bufferESP01.Pxir);
		  if(bufferESP01.Txiw < bufferESP01.Txir){
			  TxLen = (256 - bufferESP01.Txir) + bufferESP01.Txiw;
		  }else{
			  TxLen = bufferESP01.Txiw - bufferESP01.Txir;
		  }
		  ESP01_Send(bufferESP01.bufferTx, bufferESP01.Txir, TxLen, 256);
		  bufferESP01.Txir = bufferESP01.Txiw;
	  }

	  ESP01_Task();
  }
  /* USER CODE END 3 */
}

void SystemClock_Config(void)
{
  RCC_OscInitTypeDef RCC_OscInitStruct = {0};
  RCC_ClkInitTypeDef RCC_ClkInitStruct = {0};
  RCC_PeriphCLKInitTypeDef PeriphClkInit = {0};

  /** Initializes the RCC Oscillators according to the specified parameters
  * in the RCC_OscInitTypeDef structure.
  */
  RCC_OscInitStruct.OscillatorType = RCC_OSCILLATORTYPE_HSE;
  RCC_OscInitStruct.HSEState = RCC_HSE_ON;
  RCC_OscInitStruct.HSEPredivValue = RCC_HSE_PREDIV_DIV1;
  RCC_OscInitStruct.HSIState = RCC_HSI_ON;
  RCC_OscInitStruct.PLL.PLLState = RCC_PLL_ON;
  RCC_OscInitStruct.PLL.PLLSource = RCC_PLLSOURCE_HSE;
  RCC_OscInitStruct.PLL.PLLMUL = RCC_PLL_MUL9;
  if (HAL_RCC_OscConfig(&RCC_OscInitStruct) != HAL_OK)
  {
    Error_Handler();
  }

  /** Initializes the CPU, AHB and APB buses clocks
  */
  RCC_ClkInitStruct.ClockType = RCC_CLOCKTYPE_HCLK|RCC_CLOCKTYPE_SYSCLK
                              |RCC_CLOCKTYPE_PCLK1|RCC_CLOCKTYPE_PCLK2;
  RCC_ClkInitStruct.SYSCLKSource = RCC_SYSCLKSOURCE_PLLCLK;
  RCC_ClkInitStruct.AHBCLKDivider = RCC_SYSCLK_DIV1;
  RCC_ClkInitStruct.APB1CLKDivider = RCC_HCLK_DIV2;
  RCC_ClkInitStruct.APB2CLKDivider = RCC_HCLK_DIV1;

  if (HAL_RCC_ClockConfig(&RCC_ClkInitStruct, FLASH_LATENCY_2) != HAL_OK)
  {
    Error_Handler();
  }
  PeriphClkInit.PeriphClockSelection = RCC_PERIPHCLK_ADC|RCC_PERIPHCLK_USB;
  PeriphClkInit.AdcClockSelection = RCC_ADCPCLK2_DIV6;
  PeriphClkInit.UsbClockSelection = RCC_USBCLKSOURCE_PLL_DIV1_5;
  if (HAL_RCCEx_PeriphCLKConfig(&PeriphClkInit) != HAL_OK)
  {
    Error_Handler();
  }
}

static void MX_ADC1_Init(void)
{

  ADC_ChannelConfTypeDef sConfig = {0};

  /** Common config
  */
  hadc1.Instance = ADC1;
  hadc1.Init.ScanConvMode = ADC_SCAN_ENABLE;
  hadc1.Init.ContinuousConvMode = DISABLE;
  hadc1.Init.DiscontinuousConvMode = DISABLE;
  hadc1.Init.ExternalTrigConv = ADC_EXTERNALTRIGCONV_T3_TRGO;
  hadc1.Init.DataAlign = ADC_DATAALIGN_RIGHT;
  hadc1.Init.NbrOfConversion = 7;
  if (HAL_ADC_Init(&hadc1) != HAL_OK)
  {
    Error_Handler();
  }

  /** Configure Regular Channel
  */
  sConfig.Channel = ADC_CHANNEL_0;
  sConfig.Rank = ADC_REGULAR_RANK_1;
  sConfig.SamplingTime = ADC_SAMPLETIME_13CYCLES_5;
  if (HAL_ADC_ConfigChannel(&hadc1, &sConfig) != HAL_OK)
  {
    Error_Handler();
  }

  /** Configure Regular Channel
  */
  sConfig.Channel = ADC_CHANNEL_1;
  sConfig.Rank = ADC_REGULAR_RANK_2;
  if (HAL_ADC_ConfigChannel(&hadc1, &sConfig) != HAL_OK)
  {
    Error_Handler();
  }

  /** Configure Regular Channel
  */
  sConfig.Channel = ADC_CHANNEL_2;
  sConfig.Rank = ADC_REGULAR_RANK_3;
  if (HAL_ADC_ConfigChannel(&hadc1, &sConfig) != HAL_OK)
  {
    Error_Handler();
  }

  /** Configure Regular Channel
  */
  sConfig.Channel = ADC_CHANNEL_3;
  sConfig.Rank = ADC_REGULAR_RANK_4;
  if (HAL_ADC_ConfigChannel(&hadc1, &sConfig) != HAL_OK)
  {
    Error_Handler();
  }

  /** Configure Regular Channel
  */
  sConfig.Channel = ADC_CHANNEL_4;
  sConfig.Rank = ADC_REGULAR_RANK_5;
  if (HAL_ADC_ConfigChannel(&hadc1, &sConfig) != HAL_OK)
  {
    Error_Handler();
  }

  /** Configure Regular Channel
  */
  sConfig.Channel = ADC_CHANNEL_5;
  sConfig.Rank = ADC_REGULAR_RANK_6;
  if (HAL_ADC_ConfigChannel(&hadc1, &sConfig) != HAL_OK)
  {
    Error_Handler();
  }

  /** Configure Regular Channel
  */
  sConfig.Channel = ADC_CHANNEL_6;
  sConfig.Rank = ADC_REGULAR_RANK_7;
  if (HAL_ADC_ConfigChannel(&hadc1, &sConfig) != HAL_OK)
  {
    Error_Handler();
  }

}

static void MX_I2C2_Init(void)
{

  hi2c2.Instance = I2C2;
  hi2c2.Init.ClockSpeed = 400000;
  hi2c2.Init.DutyCycle = I2C_DUTYCYCLE_2;
  hi2c2.Init.OwnAddress1 = 0;
  hi2c2.Init.AddressingMode = I2C_ADDRESSINGMODE_7BIT;
  hi2c2.Init.DualAddressMode = I2C_DUALADDRESS_DISABLE;
  hi2c2.Init.OwnAddress2 = 0;
  hi2c2.Init.GeneralCallMode = I2C_GENERALCALL_DISABLE;
  hi2c2.Init.NoStretchMode = I2C_NOSTRETCH_DISABLE;
  if (HAL_I2C_Init(&hi2c2) != HAL_OK)
  {
    Error_Handler();
  }

}

static void MX_TIM2_Init(void)
{

  TIM_ClockConfigTypeDef sClockSourceConfig = {0};
  TIM_MasterConfigTypeDef sMasterConfig = {0};

  htim2.Instance = TIM2;
  htim2.Init.Prescaler = 35999;
  htim2.Init.CounterMode = TIM_COUNTERMODE_UP;
  htim2.Init.Period = 60000;
  htim2.Init.ClockDivision = TIM_CLOCKDIVISION_DIV1;
  htim2.Init.AutoReloadPreload = TIM_AUTORELOAD_PRELOAD_ENABLE;
  if (HAL_TIM_Base_Init(&htim2) != HAL_OK)
  {
    Error_Handler();
  }
  sClockSourceConfig.ClockSource = TIM_CLOCKSOURCE_INTERNAL;
  if (HAL_TIM_ConfigClockSource(&htim2, &sClockSourceConfig) != HAL_OK)
  {
    Error_Handler();
  }
  sMasterConfig.MasterOutputTrigger = TIM_TRGO_RESET;
  sMasterConfig.MasterSlaveMode = TIM_MASTERSLAVEMODE_DISABLE;
  if (HAL_TIMEx_MasterConfigSynchronization(&htim2, &sMasterConfig) != HAL_OK)
  {
    Error_Handler();
  }

}

static void MX_TIM3_Init(void)
{

  TIM_ClockConfigTypeDef sClockSourceConfig = {0};
  TIM_MasterConfigTypeDef sMasterConfig = {0};

  htim3.Instance = TIM3;
  htim3.Init.Prescaler = 71;
  htim3.Init.CounterMode = TIM_COUNTERMODE_UP;
  htim3.Init.Period = 249;
  htim3.Init.ClockDivision = TIM_CLOCKDIVISION_DIV1;
  htim3.Init.AutoReloadPreload = TIM_AUTORELOAD_PRELOAD_DISABLE;
  if (HAL_TIM_Base_Init(&htim3) != HAL_OK)
  {
    Error_Handler();
  }
  sClockSourceConfig.ClockSource = TIM_CLOCKSOURCE_INTERNAL;
  if (HAL_TIM_ConfigClockSource(&htim3, &sClockSourceConfig) != HAL_OK)
  {
    Error_Handler();
  }
  sMasterConfig.MasterOutputTrigger = TIM_TRGO_UPDATE;
  sMasterConfig.MasterSlaveMode = TIM_MASTERSLAVEMODE_DISABLE;
  if (HAL_TIMEx_MasterConfigSynchronization(&htim3, &sMasterConfig) != HAL_OK)
  {
    Error_Handler();
  }

}

static void MX_TIM4_Init(void)
{

  TIM_ClockConfigTypeDef sClockSourceConfig = {0};
  TIM_MasterConfigTypeDef sMasterConfig = {0};
  TIM_OC_InitTypeDef sConfigOC = {0};

  htim4.Instance = TIM4;
  htim4.Init.Prescaler = 719;
  htim4.Init.CounterMode = TIM_COUNTERMODE_UP;
  htim4.Init.Period = 999;
  htim4.Init.ClockDivision = TIM_CLOCKDIVISION_DIV1;
  htim4.Init.AutoReloadPreload = TIM_AUTORELOAD_PRELOAD_DISABLE;
  if (HAL_TIM_Base_Init(&htim4) != HAL_OK)
  {
    Error_Handler();
  }
  sClockSourceConfig.ClockSource = TIM_CLOCKSOURCE_INTERNAL;
  if (HAL_TIM_ConfigClockSource(&htim4, &sClockSourceConfig) != HAL_OK)
  {
    Error_Handler();
  }
  if (HAL_TIM_PWM_Init(&htim4) != HAL_OK)
  {
    Error_Handler();
  }
  sMasterConfig.MasterOutputTrigger = TIM_TRGO_RESET;
  sMasterConfig.MasterSlaveMode = TIM_MASTERSLAVEMODE_DISABLE;
  if (HAL_TIMEx_MasterConfigSynchronization(&htim4, &sMasterConfig) != HAL_OK)
  {
    Error_Handler();
  }
  sConfigOC.OCMode = TIM_OCMODE_PWM1;
  sConfigOC.Pulse = 0;
  sConfigOC.OCPolarity = TIM_OCPOLARITY_HIGH;
  sConfigOC.OCFastMode = TIM_OCFAST_DISABLE;
  if (HAL_TIM_PWM_ConfigChannel(&htim4, &sConfigOC, TIM_CHANNEL_1) != HAL_OK)
  {
    Error_Handler();
  }
  if (HAL_TIM_PWM_ConfigChannel(&htim4, &sConfigOC, TIM_CHANNEL_2) != HAL_OK)
  {
    Error_Handler();
  }
  if (HAL_TIM_PWM_ConfigChannel(&htim4, &sConfigOC, TIM_CHANNEL_3) != HAL_OK)
  {
    Error_Handler();
  }
  if (HAL_TIM_PWM_ConfigChannel(&htim4, &sConfigOC, TIM_CHANNEL_4) != HAL_OK)
  {
    Error_Handler();
  }
  HAL_TIM_MspPostInit(&htim4);

}

static void MX_USART1_UART_Init(void)
{

  huart1.Instance = USART1;
  huart1.Init.BaudRate = 115200;
  huart1.Init.WordLength = UART_WORDLENGTH_8B;
  huart1.Init.StopBits = UART_STOPBITS_1;
  huart1.Init.Parity = UART_PARITY_NONE;
  huart1.Init.Mode = UART_MODE_TX_RX;
  huart1.Init.HwFlowCtl = UART_HWCONTROL_NONE;
  huart1.Init.OverSampling = UART_OVERSAMPLING_16;
  if (HAL_UART_Init(&huart1) != HAL_OK)
  {
    Error_Handler();
  }

}

static void MX_DMA_Init(void)
{

  /* DMA controller clock enable */
  __HAL_RCC_DMA1_CLK_ENABLE();

  /* DMA interrupt init */
  /* DMA1_Channel1_IRQn interrupt configuration */
  HAL_NVIC_SetPriority(DMA1_Channel1_IRQn, 0, 0);
  HAL_NVIC_EnableIRQ(DMA1_Channel1_IRQn);

}

static void MX_GPIO_Init(void)
{
  GPIO_InitTypeDef GPIO_InitStruct = {0};

  /* GPIO Ports Clock Enable */
  __HAL_RCC_GPIOC_CLK_ENABLE();
  __HAL_RCC_GPIOD_CLK_ENABLE();
  __HAL_RCC_GPIOA_CLK_ENABLE();
  __HAL_RCC_GPIOB_CLK_ENABLE();

  /*Configure GPIO pin Output Level */
  HAL_GPIO_WritePin(LED_GPIO_Port, LED_Pin, GPIO_PIN_RESET);

  /*Configure GPIO pin Output Level */
  HAL_GPIO_WritePin(ChipEnable_GPIO_Port, ChipEnable_Pin, GPIO_PIN_RESET);

  /*Configure GPIO pin : LED_Pin */
  GPIO_InitStruct.Pin = LED_Pin;
  GPIO_InitStruct.Mode = GPIO_MODE_OUTPUT_PP;
  GPIO_InitStruct.Pull = GPIO_NOPULL;
  GPIO_InitStruct.Speed = GPIO_SPEED_FREQ_LOW;
  HAL_GPIO_Init(LED_GPIO_Port, &GPIO_InitStruct);

  /*Configure GPIO pin : ChipEnable_Pin */
  GPIO_InitStruct.Pin = ChipEnable_Pin;
  GPIO_InitStruct.Mode = GPIO_MODE_OUTPUT_PP;
  GPIO_InitStruct.Pull = GPIO_NOPULL;
  GPIO_InitStruct.Speed = GPIO_SPEED_FREQ_LOW;
  HAL_GPIO_Init(ChipEnable_GPIO_Port, &GPIO_InitStruct);

}

void Error_Handler(void)
{
  __disable_irq();
  while (1)
  {
  }
}
